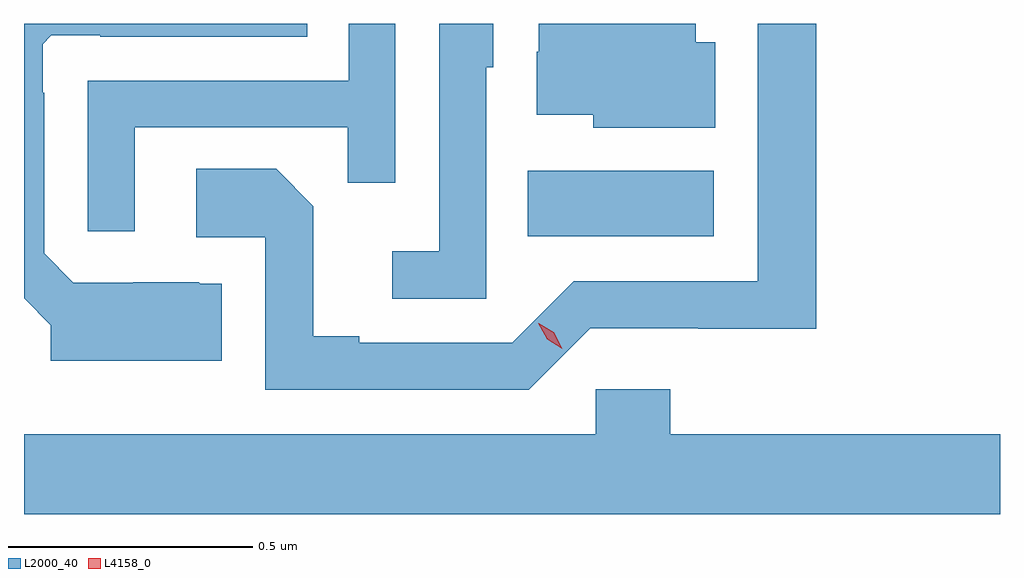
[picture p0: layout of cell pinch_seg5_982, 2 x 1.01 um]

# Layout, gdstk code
import gdstk
lib = gdstk.Library(unit=1e-6, precision=1e-09)
def R(c, l, rs):  # rectangles x0, y0, x1, y1
    for r in rs: c.add(gdstk.rectangle(r[:2], r[2:], *l))
def P(c, l, *ps):  # polygons
    for p in ps: c.add(gdstk.Polygon(p, *l))
L2000_40 = (2000, 40)
L4158_0 = (4158, 0)

pinch_seg5_982 = lib.new_cell('pinch_seg5_982')
R(pinch_seg5_982, L2000_40, [(736.546,913.274,736.927,913.408)])
P(pinch_seg5_982, L2000_40, [(735.919,913.177),(735.875,913.177),(735.872,913.18),(735.738,913.18),(735.738,913.179),(735.615,913.179),(735.555,913.239),(735.555,913.568),(735.552,913.568),(735.552,913.668),(735.57,913.686),(735.67,913.686),(735.67,913.683),(736.094,913.683),(736.094,913.71),(735.514,913.71),(735.514,913.147),(735.569,913.092),(735.569,913.019),(735.919,913.019)],
  [(736.461,913.62),(736.476,913.62),(736.476,913.71),(736.365,913.71),(736.365,913.243),(736.269,913.243),(736.269,913.146),(736.461,913.146)],
  [(735.741,913.497),(736.177,913.497),(736.177,913.384),(736.275,913.384),(736.275,913.71),(736.179,913.71),(736.179,913.593),(735.645,913.593),(735.645,913.284),(735.741,913.284)],
  [(736.93,913.672),(736.891,913.672),(736.891,913.71),(736.569,913.71),(736.569,913.652),(736.565,913.652),(736.565,913.523),(736.68,913.523),(736.68,913.496),(736.93,913.496)],
  [(736.674,913.086),(736.896,913.086),(736.896,913.085),(737.137,913.085),(737.137,913.71),(737.018,913.71),(737.018,913.182),(736.641,913.182),(736.515,913.056),(736.201,913.056),(736.201,913.069),(736.107,913.069),(736.107,913.336),(736.031,913.412),(735.867,913.412),(735.867,913.272),(736.008,913.272),(736.008,912.96),(736.548,912.96)],
  [(737.514,912.868),(736.838,912.868),(736.838,912.961),(736.686,912.961),(736.686,912.868),(735.514,912.868),(735.514,912.704),(737.514,912.704)])
P(pinch_seg5_982, L4158_0, [(736.617,913.044),(736.586,913.063),(736.568,913.096),(736.568,913.096),(736.569,913.096),(736.6,913.077),(736.617,913.044),(736.617,913.044)])

lib.write_gds('pinch_seg5_982.gds')
